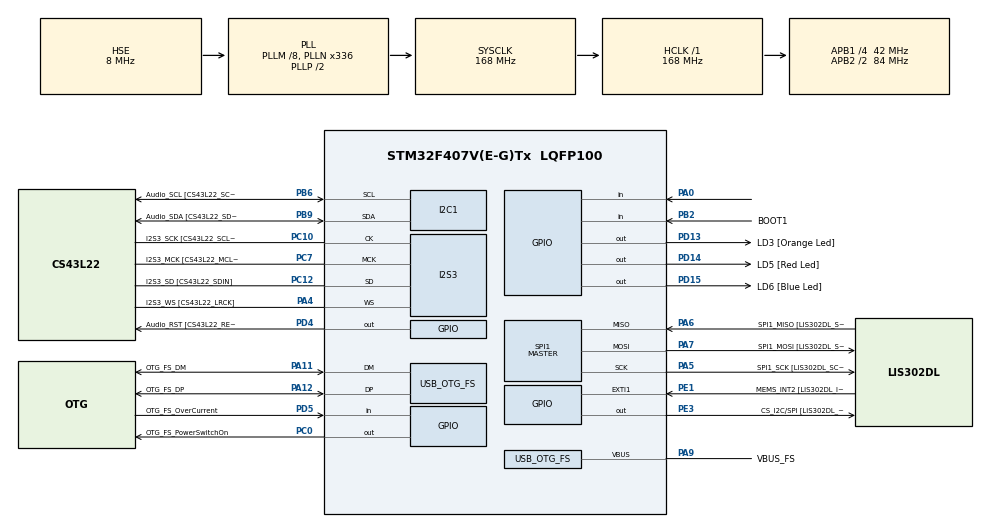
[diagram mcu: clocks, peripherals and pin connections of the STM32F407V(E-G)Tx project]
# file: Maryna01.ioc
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I2S3.AudioFreq-Half_Duplex_Master=I2S_AUDIOFREQ_96K
I2S3.ErrorAudioFreq=-2.34 %
I2S3.ErrorAudioFreq-Half_Duplex_Master=0.8 %
I2S3.FullDuplexMode=I2S_FULLDUPLEXMODE_DISABLE
I2S3.Instance=SPI$Index
I2S3.RealAudioFreq=93.75 KHz
I2S3.RealAudioFreq-Half_Duplex_Master=96.774 KHz
I2S3.VirtualMode=I2S_MODE_MASTER
Mcu.Family=STM32F4
Mcu.Name=STM32F407V(E-G)Tx
Mcu.Package=LQFP100
NVIC.OTG_FS_IRQn=true\:0\:0\:false\:false\:true\:true\:true
NVIC.PriorityGroup=NVIC_PRIORITYGROUP_0
PA0-WKUP.Signal=GPIO_Input
PA10.GPIO_Label=OTG_FS_ID
PA10.GPIO_Mode=GPIO_MODE_AF_PP
PA10.GPIO_PuPd=GPIO_NOPULL
PA10.GPIO_Speed=GPIO_SPEED_FREQ_LOW
PA10.Signal=USB_OTG_FS_ID
PA11.GPIO_Label=OTG_FS_DM
PA11.GPIO_Mode=GPIO_MODE_AF_PP
PA11.GPIO_PuPd=GPIO_NOPULL
PA11.GPIO_Speed=GPIO_SPEED_FREQ_LOW
PA11.Mode=Host_Only
PA11.Signal=USB_OTG_FS_DM
PA12.GPIO_Label=OTG_FS_DP
PA12.GPIO_Mode=GPIO_MODE_AF_PP
PA12.GPIO_PuPd=GPIO_NOPULL
PA12.GPIO_Speed=GPIO_SPEED_FREQ_LOW
PA12.Mode=Host_Only
PA12.Signal=USB_OTG_FS_DP
PA13.GPIO_Label=SWDIO
PA13.Mode=Serial_Wire
PA13.Signal=SYS_JTMS-SWDIO
PA14.GPIO_Label=SWCLK
PA14.Mode=Serial_Wire
PA14.Signal=SYS_JTCK-SWCLK
PA4.GPIO_Label=I2S3_WS [CS43L22_LRCK]
PA4.GPIO_Mode=GPIO_MODE_AF_PP
PA4.GPIO_PuPd=GPIO_NOPULL
PA4.GPIO_Speed=GPIO_SPEED_FREQ_LOW
PA4.Mode=Half_Duplex_Master
PA4.Signal=I2S3_WS
PA5.GPIO_Label=SPI1_SCK [LIS302DL_SCL/SPC]
PA5.GPIO_Mode=GPIO_MODE_AF_PP
PA5.GPIO_PuPd=GPIO_NOPULL
PA5.GPIO_Speed=GPIO_SPEED_FREQ_LOW
PA5.Mode=Full_Duplex_Master
PA5.Signal=SPI1_SCK
PA6.GPIO_Label=SPI1_MISO [LIS302DL_SDO]
PA6.GPIO_Mode=GPIO_MODE_AF_PP
PA6.GPIO_PuPd=GPIO_NOPULL
PA6.GPIO_Speed=GPIO_SPEED_FREQ_LOW
PA6.Mode=Full_Duplex_Master
PA6.Signal=SPI1_MISO
PA7.GPIO_Label=SPI1_MOSI [LIS302DL_SDA/SDI/SDO]
PA7.GPIO_Mode=GPIO_MODE_AF_PP
PA7.GPIO_PuPd=GPIO_NOPULL
PA7.GPIO_Speed=GPIO_SPEED_FREQ_LOW
PA7.Mode=Full_Duplex_Master
PA7.Signal=SPI1_MOSI
PA9.GPIO_Label=VBUS_FS
PA9.GPIO_Mode=GPIO_MODE_INPUT
PA9.GPIO_PuPd=GPIO_NOPULL
PA9.Mode=Activate_VBUS
PA9.Signal=USB_OTG_FS_VBUS
PB10.GPIO_Label=CLK_IN [MP45DT02_CLK]
PB10.GPIO_Mode=GPIO_MODE_AF_PP
PB10.GPIO_PuPd=GPIO_NOPULL
PB10.GPIO_Speed=GPIO_SPEED_FREQ_LOW
PB10.Signal=I2S2_CK
PB2.GPIO_Label=BOOT1
PB2.GPIO_Mode=GPIO_MODE_INPUT
PB2.GPIO_PuPd=GPIO_NOPULL
PB2.Signal=GPIO_Input
PB3.GPIO_Label=SWO
PB3.Signal=SYS_JTDO-SWO
PB6.GPIO_Label=Audio_SCL [CS43L22_SCL]
PB6.GPIO_Mode=GPIO_MODE_AF_OD
PB6.GPIO_Pu=GPIO_PULLUP
PB6.GPIO_PuPd=GPIO_NOPULL
PB6.GPIO_Speed=GPIO_SPEED_FREQ_LOW
PB6.Mode=I2C
PB6.Signal=I2C1_SCL
PB9.GPIO_Label=Audio_SDA [CS43L22_SDA]
PB9.GPIO_Mode=GPIO_MODE_AF_OD
PB9.GPIO_Pu=GPIO_PULLUP
PB9.GPIO_PuPd=GPIO_NOPULL
PB9.GPIO_Speed=GPIO_SPEED_FREQ_LOW
PB9.Mode=I2C
PB9.Signal=I2C1_SDA
PC0.GPIO_Label=OTG_FS_PowerSwitchOn
PC0.GPIO_PuPd=GPIO_NOPULL
PC0.GPIO_Speed=GPIO_SPEED_FREQ_LOW
PC0.PinState=GPIO_PIN_SET
PC0.Signal=GPIO_Output
PC10.GPIO_Label=I2S3_SCK [CS43L22_SCLK]
PC10.GPIO_Mode=GPIO_MODE_AF_PP
PC10.GPIO_PuPd=GPIO_NOPULL
PC10.GPIO_Speed=GPIO_SPEED_FREQ_LOW
PC10.Mode=Half_Duplex_Master
PC10.Signal=I2S3_CK
PC12.GPIO_Label=I2S3_SD [CS43L22_SDIN]
PC12.GPIO_Mode=GPIO_MODE_AF_PP
PC12.GPIO_PuPd=GPIO_NOPULL
PC12.GPIO_Speed=GPIO_SPEED_FREQ_LOW
PC12.Mode=Half_Duplex_Master
PC12.Signal=I2S3_SD
PC14-OSC32_IN.GPIO_Label=PC14-OSC32_IN
PC14-OSC32_IN.Mode=LSE-External-Oscillator
PC14-OSC32_IN.Signal=RCC_OSC32_IN
PC15-OSC32_OUT.GPIO_Label=PC15-OSC32_OUT
PC15-OSC32_OUT.Mode=LSE-External-Oscillator
PC15-OSC32_OUT.Signal=RCC_OSC32_OUT
PC3.GPIO_Label=PDM_OUT [MP45DT02_DOUT]
PC3.GPIO_Mode=GPIO_MODE_AF_PP
PC3.GPIO_PuPd=GPIO_NOPULL
PC3.GPIO_Speed=GPIO_SPEED_FREQ_LOW
PC3.Signal=I2S2_SD
PC7.GPIO_Label=I2S3_MCK [CS43L22_MCLK]
PC7.GPIO_Mode=GPIO_MODE_AF_PP
PC7.GPIO_PuPd=GPIO_NOPULL
PC7.GPIO_Speed=GPIO_SPEED_FREQ_LOW
PC7.Mode=Master_Clock_Activated
PC7.Signal=I2S3_MCK
PD13.GPIO_Label=LD3 [Orange Led]
PD13.GPIO_PuPd=GPIO_NOPULL
PD13.GPIO_Speed=GPIO_SPEED_FREQ_LOW
PD13.Signal=GPIO_Output
PD14.GPIO_Label=LD5 [Red Led]
PD14.GPIO_PuPd=GPIO_NOPULL
PD14.GPIO_Speed=GPIO_SPEED_FREQ_LOW
PD14.Signal=GPIO_Output
PD15.GPIO_Label=LD6 [Blue Led]
PD15.GPIO_PuPd=GPIO_NOPULL
PD15.GPIO_Speed=GPIO_SPEED_FREQ_LOW
PD15.Signal=GPIO_Output
PD4.GPIO_Label=Audio_RST [CS43L22_RESET]
PD4.GPIO_PuPd=GPIO_NOPULL
PD4.GPIO_Speed=GPIO_SPEED_FREQ_LOW
PD4.Signal=GPIO_Output
PD5.GPIO_Label=OTG_FS_OverCurrent
PD5.GPIO_Mode=GPIO_MODE_INPUT
PD5.GPIO_PuPd=GPIO_NOPULL
PD5.Signal=GPIO_Input
PE1.GPIO_Label=MEMS_INT2 [LIS302DL_INT2]
PE1.GPIO_ModeDefaultEXTI=GPIO_MODE_EVT_RISING
PE1.GPIO_PuPd=GPIO_NOPULL
PE1.Signal=GPXTI1
PE3.GPIO_Label=CS_I2C/SPI [LIS302DL_CS_I2C/SPI]
PE3.GPIO_PuPd=GPIO_NOPULL
PE3.GPIO_Speed=GPIO_SPEED_FREQ_LOW
PE3.Signal=GPIO_Output
PH0-OSC_IN.GPIO_Label=PH0-OSC_IN
PH0-OSC_IN.Mode=HSE-External-Oscillator
PH0-OSC_IN.Signal=RCC_OSC_IN
PH1-OSC_OUT.GPIO_Label=PH1-OSC_OUT
PH1-OSC_OUT.Mode=HSE-External-Oscillator
PH1-OSC_OUT.Signal=RCC_OSC_OUT
ProjectManager.HeapSize=0x200
ProjectManager.StackSize=0x400
ProjectManager.TargetToolchain=STM32CubeIDE
RCC.48MHZClocksFreq_Value=48000000
RCC.AHBFreq_Value=168000000
RCC.APB1CLKDivider=RCC_HCLK_DIV4
RCC.APB1Freq_Value=42000000
RCC.APB1TimFreq_Value=84000000
RCC.APB2CLKDivider=RCC_HCLK_DIV2
RCC.APB2Freq_Value=84000000
RCC.APB2TimFreq_Value=168000000
RCC.CortexFreq_Value=168000000
RCC.HCLKFreq_Value=168000000
RCC.HSE_VALUE=8000000
RCC.HSI_VALUE=16000000
RCC.PLLM=8
RCC.PLLN=336
RCC.PLLQ=7
RCC.SYSCLKFreq_VALUE=168000000
RCC.SYSCLKSource=RCC_SYSCLKSOURCE_PLLCLK
RCC.VCOOutputFreq_Value=336000000
SPI1.BaudRatePrescaler-Full_Duplex_Master=SPI_BAUDRATEPRESCALER_2
SPI1.CalculateBaudRate-Full_Duplex_Master=42.0 MBits/s
SPI1.Direction=SPI_DIRECTION_2LINES
SPI1.Mode=SPI_MODE_MASTER
SPI1.Mode-Full_Duplex_Master=SPI_MODE_MASTER
SPI1.VirtualType=VM_MASTER
USB_HOST.BSP.number=1
USB_HOST.USBH_HandleTypeDef-CDC_FS=hUsbHostFS
USB_HOST.VirtualModeFS=Cdc
USB_HOST0.BSP.STBoard=false
USB_HOST0.BSP.api=Unknown
USB_HOST0.BSP.i2caddr=0
USB_HOST0.BSP.i2creg=0
USB_HOST0.BSP.instance=PC0
USB_HOST0.BSP.ip=GPIO
USB_HOST0.BSP.mode=Output
USB_HOST0.BSP.name=Drive_VBUS_FS
USB_HOST0.BSP.solution=PC0
USB_OTG_FS.VirtualMode=Host_Only
USB_OTG_FS.phy_itface=HCD_PHY_EMBEDDED
VP_USB_HOST_VS_USB_HOST_CDC_FS.Mode=CDC_FS
board=STM32F407G-DISC1

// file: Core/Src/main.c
/* USER CODE BEGIN Header */
/**
  ******************************************************************************
  * @file           : main.c
  * @brief          : Main program body
  ******************************************************************************
  * @attention
  *
  * <h2><center>&copy; Copyright (c) 2021 STMicroelectronics.
  * All rights reserved.</center></h2>
  *
  * This software component is licensed by ST under Ultimate Liberty license
  * SLA0044, the "License"; You may not use this file except in compliance with
  * the License. You may obtain a copy of the License at:
  *                             www.st.com/SLA0044
  *
  ******************************************************************************
  */
/* USER CODE END Header */
#include "main.h"
#include "i2c.h"
#include "i2s.h"
#include "spi.h"
#include "usb_host.h"
#include "gpio.h"
#include "stdbool.h"

/* USER CODE BEGIN PTD */
typedef struct item item;
/* USER CODE END PTD */

/* USER CODE BEGIN PV */
#define DEBOUNCE_TIME 30 //100
#define AFTER_PUSH_TIME 1000
#define BLINK_TIME 200
uint32_t Tick, PrevStatus;
uint32_t RisingSlope=0, FallingSlope=0;
/* USER CODE END PV */

void SystemClock_Config(void);
void MX_USB_HOST_Process(void);

/* USER CODE BEGIN 0 */

struct item
{
	uint32_t Port;
	uint32_t Pin;
	bool Status;
	bool PrevStatus;
	bool Temp;
	uint32_t WhenOn;
	uint32_t WhenOff;
	uint8_t Count;
	bool UnLock;
};

item BlueButton;
item RedLED;
item BlueLED;

void Flash(int n, int time_ms) // only for debugging function
{
	for(int i=0; i<2*n; i++)
	{
		HAL_GPIO_TogglePin(GPIOD,GPIO_PIN_15);
		HAL_Delay(time_ms);
	}
}

void HardwareUpdate()
{

	  Tick=HAL_GetTick();

      BlueButton.Status=HAL_GPIO_ReadPin(BlueButton.Port, BlueButton.Pin);
	  HAL_GPIO_WritePin(RedLED.Port, RedLED.Pin, RedLED.Status);
	  HAL_GPIO_WritePin(BlueLED.Port, BlueLED.Pin, BlueButton.Status);

}

/* USER CODE END 0 */

int main(void)
{

  /* MCU Configuration--------------------------------------------------------*/

  /* Reset of all peripherals, Initializes the Flash interface and the Systick. */
  HAL_Init();

  /* USER CODE BEGIN Init */

  void SetStartValues()
{
	   Tick=HAL_GetTick();

	   BlueButton.Port=(uint32_t) GPIOA;
	   BlueButton.Pin=GPIO_PIN_0;
	   BlueButton.Status=0;
	   BlueButton.PrevStatus=0;
	   BlueButton.Temp=0;
	   BlueButton.WhenOn=Tick;
	   BlueButton.WhenOff=Tick;
	   BlueButton.Count=0;
	   BlueButton.UnLock=1;

	   RedLED.Port=(uint32_t) GPIOD;
	   RedLED.Pin=GPIO_PIN_13;
	   RedLED.Status=0;
	   RedLED.PrevStatus=0;
	   RedLED.Temp=0;
	   RedLED.WhenOn=Tick;
	   RedLED.WhenOff=Tick;
	   RedLED.Count=0;
	   RedLED.UnLock=0;

	   BlueLED.Port=(uint32_t) GPIOD;
	   BlueLED.Pin=GPIO_PIN_15;
	   BlueLED.Status=0;
	   BlueLED.PrevStatus=0;
	   BlueLED.Temp=0;
	   BlueLED.WhenOn=Tick;
	   BlueLED.WhenOff=Tick;
	   BlueLED.Count=0;
	   BlueLED.UnLock=1;

}

  /* USER CODE END Init */

  /* Configure the system clock */
  SystemClock_Config();

  /* Initialize all configured peripherals */
  MX_GPIO_Init();
  MX_I2C1_Init();
  MX_I2S3_Init();
  MX_SPI1_Init();
  MX_USB_HOST_Init();

  /* Infinite loop */
    MX_USB_HOST_Process();

    /* USER CODE BEGIN 3 */

	  SetStartValues();

   while(1)
   {
	  if (BlueButton.UnLock) BlueButton.PrevStatus=BlueButton.Status;

	  HardwareUpdate();

//******************* Counting *******************//
	  if ((!BlueButton.PrevStatus) && (BlueButton.Status)) BlueButton.WhenOn=Tick;
	  if ((BlueButton.PrevStatus) && (!BlueButton.Status)) BlueButton.WhenOff=Tick;

	  if ((!BlueButton.Temp) && (BlueButton.PrevStatus!=BlueButton.Status))
		  BlueButton.Temp=1; // latch first slope

	  if ((BlueButton.Temp) &&
			  ((Tick- BlueButton.WhenOn)>DEBOUNCE_TIME) &&
			  ((Tick- BlueButton.WhenOff)>DEBOUNCE_TIME) &&
			  (!BlueButton.Status))
	  {
		  BlueButton.Count++;
	  	  BlueButton.Temp=0;
	  }

//******************* Blinking *******************//
	  if (((Tick-BlueButton.WhenOff)>AFTER_PUSH_TIME) && (BlueButton.Count) && (!BlueButton.Status) && (!BlueButton.PrevStatus))
	  {
		  BlueButton.UnLock=0;
		  RedLED.UnLock=1;
		  RedLED.Count=2*BlueButton.Count;
		  BlueButton.Count=0;
	  }

	  if (RedLED.UnLock)
	  {
		  if ((RedLED.Status==1) && ((Tick-RedLED.WhenOn)>BLINK_TIME))
		  {
			  RedLED.Status=0;
			  RedLED.WhenOff=Tick;
			  RedLED.Count--;
		  }
		  if ((RedLED.Status==0) && ((Tick-RedLED.WhenOff)>BLINK_TIME))
		  {
			  RedLED.Status=1;
			  RedLED.WhenOn=Tick;
			  RedLED.Count--;
		  }
		  if (RedLED.Count==0)
			  {
			  	  RedLED.UnLock=0;
			  	  BlueButton.UnLock=1;
			  }
	  }
  }
  /* USER CODE END 3 */
}

void SystemClock_Config(void)
{
  RCC_OscInitTypeDef RCC_OscInitStruct = {0};
  RCC_ClkInitTypeDef RCC_ClkInitStruct = {0};

  /** Configure the main internal regulator output voltage
  */
  __HAL_RCC_PWR_CLK_ENABLE();
  __HAL_PWR_VOLTAGESCALING_CONFIG(PWR_REGULATOR_VOLTAGE_SCALE1);
  /** Initializes the RCC Oscillators according to the specified parameters
  * in the RCC_OscInitTypeDef structure.
  */
  RCC_OscInitStruct.OscillatorType = RCC_OSCILLATORTYPE_HSE;
  RCC_OscInitStruct.HSEState = RCC_HSE_ON;
  RCC_OscInitStruct.PLL.PLLState = RCC_PLL_ON;
  RCC_OscInitStruct.PLL.PLLSource = RCC_PLLSOURCE_HSE;
  RCC_OscInitStruct.PLL.PLLM = 8;
  RCC_OscInitStruct.PLL.PLLN = 336;
  RCC_OscInitStruct.PLL.PLLP = RCC_PLLP_DIV2;
  RCC_OscInitStruct.PLL.PLLQ = 7;
  if (HAL_RCC_OscConfig(&RCC_OscInitStruct) != HAL_OK)
  {
    Error_Handler();
  }
  /** Initializes the CPU, AHB and APB buses clocks
  */
  RCC_ClkInitStruct.ClockType = RCC_CLOCKTYPE_HCLK|RCC_CLOCKTYPE_SYSCLK
                              |RCC_CLOCKTYPE_PCLK1|RCC_CLOCKTYPE_PCLK2;
  RCC_ClkInitStruct.SYSCLKSource = RCC_SYSCLKSOURCE_PLLCLK;
  RCC_ClkInitStruct.AHBCLKDivider = RCC_SYSCLK_DIV1;
  RCC_ClkInitStruct.APB1CLKDivider = RCC_HCLK_DIV4;
  RCC_ClkInitStruct.APB2CLKDivider = RCC_HCLK_DIV2;

  if (HAL_RCC_ClockConfig(&RCC_ClkInitStruct, FLASH_LATENCY_5) != HAL_OK)
  {
    Error_Handler();
  }
}

void Error_Handler(void)
{
  __disable_irq();
  while (1)
  {
  }
}

/************************ (C) COPYRIGHT STMicroelectronics *****END OF FILE****/
